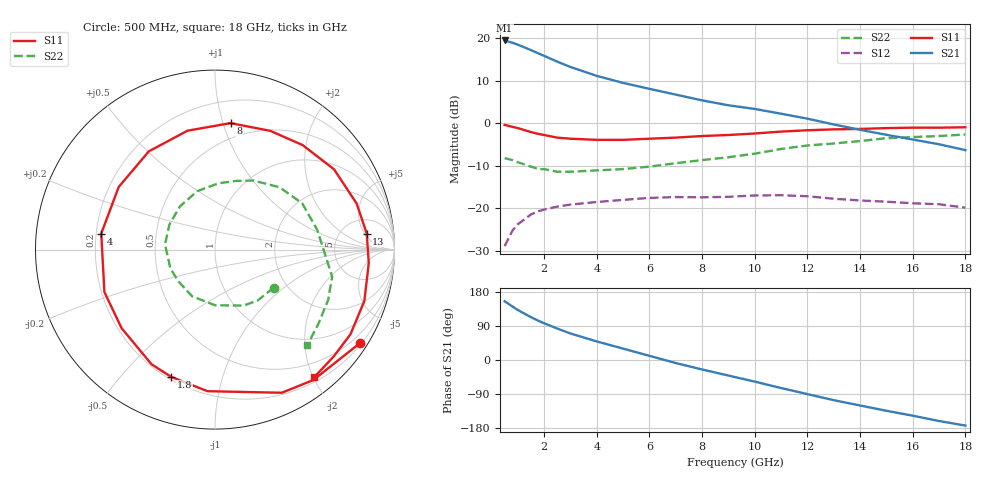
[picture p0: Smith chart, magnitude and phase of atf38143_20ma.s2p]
!ATF-38143
!S-PARAMETERS at Vds=2V  Id=20mA.  LAST UPDATED 20-10-99
# GHz S MA R 50
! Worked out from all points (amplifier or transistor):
!   23 points, 500 MHz to 18 GHz, reference 50 ohm
!   highest |S21| = 19.5 dB at 500 MHz (marker M1)
!   |S21| within 3 dB of that: start of sweep to 1.769 GHz
!   unconditionally stable (mu >= 1): 6.62 GHz to end of sweep
!   at 1.5 GHz: K = 0.36, MSG = 19.3 dB, |S12| = -21.4 dB
!   at 7 GHz: K = 1.03, MAG = 11.0 dB, |S12| = -17.3 dB
!   at 18 GHz: K = 1.40, MAG = 3.0 dB, |S12| = -19.8 dB
!   lowest NFmin = 0.15 dB at 500 MHz
!   S11 on the Smith chart (normalised r, x): 500 MHz: 0.25, -3.36; 1.8 GHz: 0.21, -0.69; 4 GHz: 0.22, +0.07; 8 GHz: 0.37, +1.06; 13 GHz: 9, +6; 18 GHz: 0.27, -2.02
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0.5  0.96 -33.0  9.436 155.0  0.036 71.0  0.39 -33.0
0.8  0.91 -53.0  8.85 141.0  0.055 60.0  0.37 -50.0
1  0.88 -65.0  8.425 132.0  0.065 54.0  0.35 -63.0
1.5  0.79 -93.0  7.269 113.0  0.085 41.0  0.31 -90.0
1.8  0.75 -109.0  6.616 103.0  0.093 34.0  0.29 -106.0
2  0.73 -119.0  6.22 97.0  0.097 30.0  0.29 -116.0
2.5  0.68 -140.0  5.321 83.0  0.105 21.0  0.27 -139.0
3  0.66 -159.0  4.604 70.0  0.111 14.0  0.27 -157.0
4  0.64 172.0  3.616 49.0  0.119 2.0  0.28 174.0
5  0.64 147.0  2.992 30.0  0.126 -9.0  0.29 151.0
6  0.66 124.0  2.548 11.0  0.133 -20.0  0.31 129.0
7  0.68 103.0  2.179 -8.0  0.136 -32.0  0.34 107.0
8  0.71 83.0  1.864 -25.0  0.135 -43.0  0.37 87.0
9  0.73 65.0  1.632 -41.0  0.137 -53.0  0.4 73.0
10  0.76 50.0  1.478 -57.0  0.142 -63.0  0.44 61.0
11  0.8 34.0  1.299 -74.0  0.143 -76.0  0.5 44.0
12  0.83 18.0  1.136 -90.0  0.139 -87.0  0.55 28.0
13  0.85 6.0  0.971 -106.0  0.13 -98.0  0.58 11.0
14  0.86 -5.0  0.84 -120.0  0.124 -107.0  0.62 -4.0
15  0.88 -19.0  0.734 -134.0  0.12 -118.0  0.67 -13.0
16  0.89 -32.0  0.646 -147.0  0.115 -127.0  0.69 -24.0
18  0.9 -52.0  0.485 -173.0  0.102 -146.0  0.74 -46.0
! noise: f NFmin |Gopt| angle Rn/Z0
0.5  0.15  0.71  13  0.13
0.9  0.16  0.68  22  0.12
1.5  0.18  0.6  43  0.09
2  0.22  0.51  68  0.09
3  0.33  0.46  100  0.06
4  0.45  0.37  133  0.05
5.5  0.61  0.39  173  0.04
6  0.65  0.4  -159  0.04
8  0.82  0.48  -100  0.15
10  1  0.6  -61  0.4
